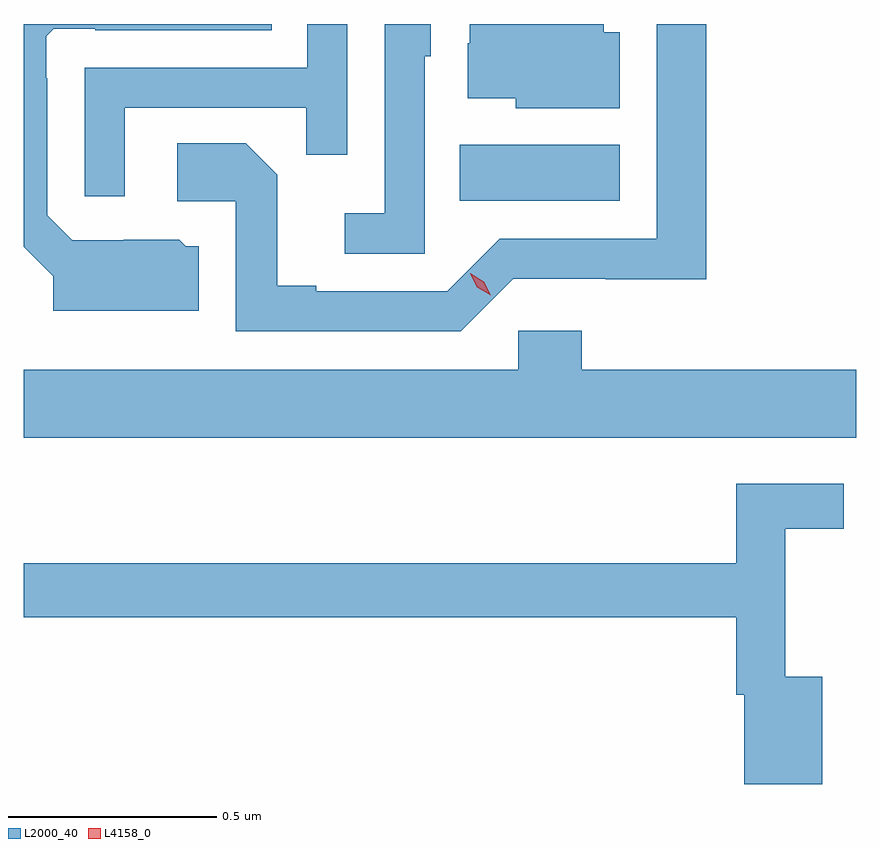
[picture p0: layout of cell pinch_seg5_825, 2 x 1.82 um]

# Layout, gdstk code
import gdstk
lib = gdstk.Library(unit=1e-6, precision=1e-09)
def R(c, l, rs):  # rectangles x0, y0, x1, y1
    for r in rs: c.add(gdstk.rectangle(r[:2], r[2:], *l))
def P(c, l, *ps):  # polygons
    for p in ps: c.add(gdstk.Polygon(p, *l))
L2000_40 = (2000, 40)
L4158_0 = (4158, 0)

pinch_seg5_825 = lib.new_cell('pinch_seg5_825')
R(pinch_seg5_825, L2000_40, [(802.924,902.618,803.308,902.752)])
P(pinch_seg5_825, L2000_40, [(802.297,902.508),(802.266,902.508),(802.25,902.524),(802.116,902.524),(802.116,902.523),(801.993,902.523),(801.933,902.583),(801.933,902.912),(801.93,902.912),(801.93,903.012),(801.948,903.03),(802.048,903.03),(802.048,903.027),(802.472,903.027),(802.472,903.042),(801.876,903.042),(801.876,902.507),(801.947,902.436),(801.947,902.354),(802.297,902.354)],
  [(803.052,902.43),(803.274,902.43),(803.274,902.429),(803.515,902.429),(803.515,903.042),(803.396,903.042),(803.396,902.526),(803.019,902.526),(802.893,902.4),(802.579,902.4),(802.579,902.413),(802.485,902.413),(802.485,902.68),(802.409,902.756),(802.245,902.756),(802.245,902.616),(802.386,902.616),(802.386,902.304),(802.926,902.304)],
  [(802.119,902.841),(802.555,902.841),(802.555,902.728),(802.653,902.728),(802.653,903.042),(802.557,903.042),(802.557,902.937),(802.023,902.937),(802.023,902.628),(802.119,902.628)],
  [(803.308,903.022),(803.269,903.022),(803.269,903.042),(802.947,903.042),(802.947,902.996),(802.943,902.996),(802.943,902.864),(803.058,902.864),(803.058,902.84),(803.308,902.84)],
  [(802.839,902.964),(802.854,902.964),(802.854,903.042),(802.743,903.042),(802.743,902.587),(802.647,902.587),(802.647,902.49),(802.839,902.49)],
  [(803.876,902.212),(803.216,902.212),(803.216,902.305),(803.064,902.305),(803.064,902.212),(801.876,902.212),(801.876,902.048),(803.876,902.048)],
  [(803.794,901.474),(803.705,901.474),(803.705,901.83),(803.845,901.83),(803.845,901.938),(803.587,901.938),(803.587,901.747),(801.876,901.747),(801.876,901.618),(803.587,901.618),(803.587,901.431),(803.606,901.431),(803.606,901.217),(803.794,901.217)])
P(pinch_seg5_825, L4158_0, [(802.998,902.391),(802.966,902.41),(802.949,902.442),(802.949,902.443),(802.949,902.443),(802.981,902.423),(802.998,902.391),(802.998,902.391)])

lib.write_gds('pinch_seg5_825.gds')
